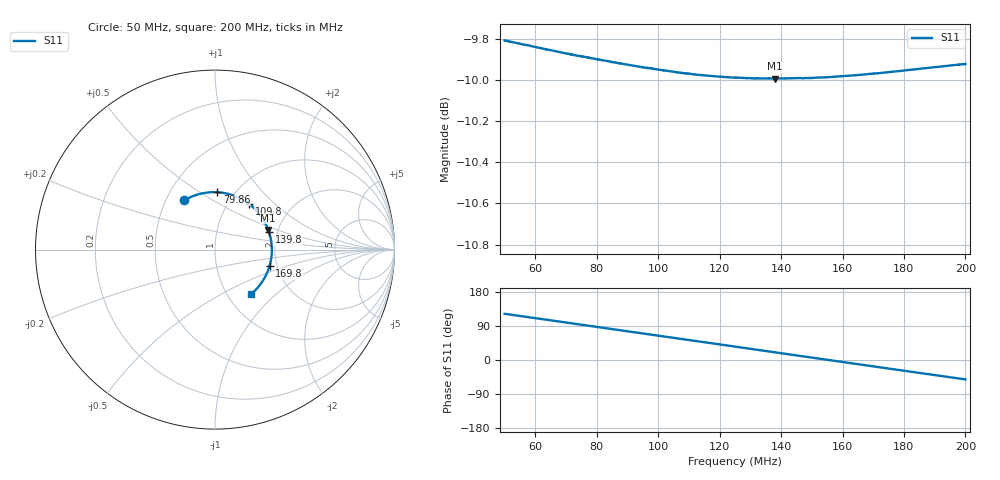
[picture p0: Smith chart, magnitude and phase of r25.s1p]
! COPPER MOUNTAIN TECHNOLOGIES, PLANAR TR1300/1, 00071119, 20.2.2/1.0
! Date: 1/9/2024 7:38:12 PM
! Data: Format [Calibration Info]
! Freq  S11: Re/Im F1
# HZ S RI R 50
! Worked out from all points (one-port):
!   12288 points, 50 MHz to 200 MHz, reference 50 ohm
!   lowest |S11| = -10.0 dB at 138.1 MHz (marker M1), VSWR 1.93, Z = 88.9 + j21.6 ohm
!   |S11| at or under -10 dB: nowhere
!   S11 on the Smith chart (normalised r, x): 50 MHz: 0.62, +0.38; 79.86 MHz: 0.83, +0.59; 109.8 MHz: 1.25, +0.71; 139.8 MHz: 1.80, +0.40; 169.8 MHz: 1.83, -0.37; 200 MHz: 1.28, -0.71
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5e7  -0.171 0.2744
5.300317e7  -0.1541 0.2838
5.982746e7  -0.1138 0.3014
6.875153e7  -0.0582 0.3158
7.451371e7  -0.0213 0.3198
7.986083e7  0.0131 0.3197
8.750305e7  0.0618 0.3131
9.21421e7  0.0906 0.3056
9.686661e7  0.1191 0.2952
1.062546e8  0.1722 0.2668
1.097949e8  0.1907 0.2536
1.176813e8  0.2284 0.2197
1.250061e8  0.2582 0.1833
1.317449e8  0.2806 0.1464
1.380565e8  0.297 0.1094
1.397534e8  0.3006 0.0991
1.437576e8  0.3076 0.0745
1.48299e8  0.3132 0.0459
1.530113e8  0.3163 0.0159
1.577846e8  0.3165 -0.0146
1.625092e8  0.3138 -0.0448
1.698096e8  0.3042 -0.0904
1.755229e8  0.2921 -0.1248
1.812607e8  0.2761 -0.1578
1.862416e8  0.2592 -0.1847
1.915154e8  0.2386 -0.2112
1.968015e8  0.2152 -0.2354
2e8  0.1999 -0.2487
